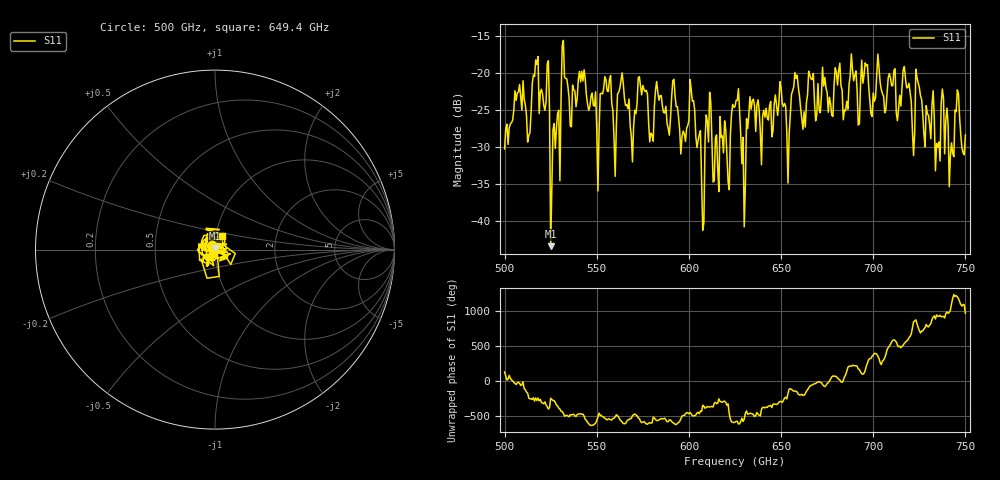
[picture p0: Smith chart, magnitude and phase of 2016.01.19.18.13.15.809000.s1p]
!Created with skrf (http://scikit-rf.org).
# GHz S RI R 50.0
!freq ReS11 ImS11
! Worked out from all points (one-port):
!   401 points, 500 GHz to 750 GHz, reference 50 ohm
!   lowest |S11| = -43.5 dB at 525 GHz (marker M1), VSWR 1.01, Z = 49.8 + j0.63 ohm
!   |S11| at or under -10 dB: start of sweep to end of sweep
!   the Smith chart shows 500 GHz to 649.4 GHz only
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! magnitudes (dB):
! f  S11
! 500 GHz  -30.3
! 506.9 GHz  -22.7
! 513.1 GHz  -28.5
! 516.9 GHz  -18.3
! 523.1 GHz  -18.8
! 525 GHz  -43.5
! 531.2 GHz  -16.4
! 550 GHz  -27.7
! 556.2 GHz  -22.5
! 559.4 GHz  -28.9
! 562.5 GHz  -22.1
! 569.4 GHz  -32.1
! 573.8 GHz  -21.8
! 579.4 GHz  -28.2
! 593.8 GHz  -24.6
! 601.9 GHz  -23.8
! 607.5 GHz  -41.3
! 610.6 GHz  -29.3
! 621.2 GHz  -34.7
! 625 GHz  -24.6
! 629.4 GHz  -28.7
! 633.8 GHz  -24.9
! 653.8 GHz  -34.9
! 656.2 GHz  -22.4
! 687.5 GHz  -20.4
! 718.8 GHz  -22.0
! 735 GHz  -30.1
! 750 GHz  -28.4
